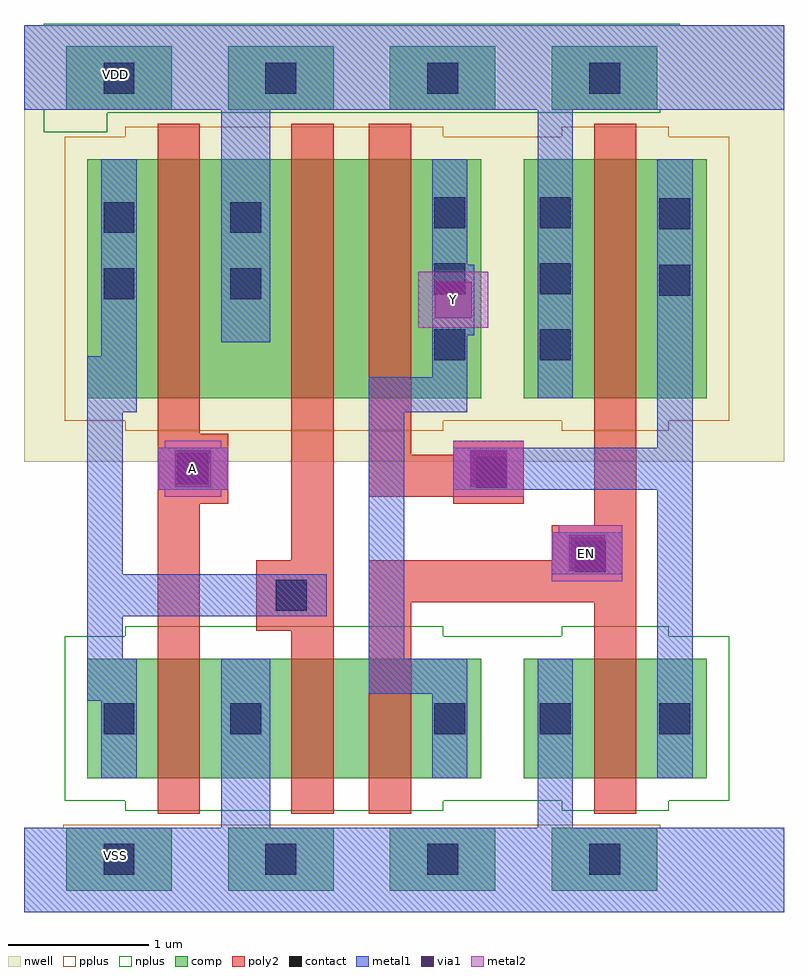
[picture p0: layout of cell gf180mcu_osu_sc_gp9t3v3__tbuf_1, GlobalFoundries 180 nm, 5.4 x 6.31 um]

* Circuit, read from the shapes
.subckt gf180mcu_osu_sc_gp9t3v3__tbuf_1 A EN VDD VSS Y
XM1 VSS A n1 VSS nfet_03v3 w=0.85u l=0.3u
XM2 n2 n1 VSS VSS nfet_03v3 w=0.85u l=0.3u
XM3 Y EN n2 VSS nfet_03v3 w=0.85u l=0.3u
XM4 n3 EN VSS VSS nfet_03v3 w=0.85u l=0.3u
XM5 VDD A n1 VDD pfet_03v3 w=1.7u l=0.3u
XM6 n4 n1 VDD VDD pfet_03v3 w=1.7u l=0.3u
XM7 Y n3 n4 VDD pfet_03v3 w=1.7u l=0.3u
XM8 n3 EN VDD VDD pfet_03v3 w=1.7u l=0.3u
.ends

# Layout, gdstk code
import gdstk
lib = gdstk.Library(unit=1e-6, precision=1e-09)
def R(c, l, rs):  # rectangles x0, y0, x1, y1
    for r in rs: c.add(gdstk.rectangle(r[:2], r[2:], *l))
def A(c, l, x, y, w, h, nx, ny, dx, dy):  # array of equal rectangles
    R(c, l, [(x+i*dx, y+j*dy, x+i*dx+w, y+j*dy+h) for i in range(nx) for j in range(ny)])
nwell = (21, 0)
comp = (22, 0)
poly2 = (30, 0)
pplus = (31, 0)
nplus = (32, 0)
contact = (33, 0)
metal1 = (34, 0)
via1 = (35, 0)
metal2 = (36, 0)

gf180mcu_osu_sc_gp9t3v3_ = lib.new_cell('gf180mcu_osu_sc_gp9t3v3__tbuf_1')
R(gf180mcu_osu_sc_gp9t3v3_, nwell, [(0,3.2,5.4,6.3)])
A(gf180mcu_osu_sc_gp9t3v3_, comp, 0.3, 0.15, 0.75, 0.45, 4, 2, 1.15, 5.55)
R(gf180mcu_osu_sc_gp9t3v3_, comp, [(0.45,0.95,3.25,1.8), (3.55,0.95,4.85,1.8), (0.45,3.65,3.25,5.35), (3.55,3.65,4.85,5.35)])
R(gf180mcu_osu_sc_gp9t3v3_, poly2, [(0.95,0.7,1.25,2.9), (1.9,0.7,2.2,2), (2.45,0.7,2.75,2.2), (4.05,0.7,4.35,2.2), (1.65,2,2.2,2.5), (2.45,2.2,4.35,2.5), (1.9,2.5,2.2,5.6), (3.75,2.5,4.35,2.75), (4.05,2.75,4.35,5.6), (0.95,2.9,1.45,3.4), (3.05,2.9,3.55,2.95), (2.45,2.95,3.55,3.25), (2.45,3.25,2.75,5.6), (3.05,3.25,3.55,3.35), (0.95,3.4,1.25,5.6)])
R(gf180mcu_osu_sc_gp9t3v3_, pplus, [(0,0,5.4,0.6), (0.28,0.13,4.52,0.62), (0.72,3.42,2.98,3.49), (3.82,3.42,4.58,3.49), (0.29,3.49,5.01,5.51), (0.72,5.51,2.98,5.58), (3.82,5.51,4.58,5.58)])
R(gf180mcu_osu_sc_gp9t3v3_, nplus, [(0.72,0.72,2.98,0.79), (3.82,0.72,4.58,0.79), (0.29,0.79,5.01,1.96), (0.72,1.96,2.98,2.03), (3.82,1.96,4.58,2.03), (0.14,5.54,0.59,5.68), (0.14,5.68,4.52,5.7), (0,5.7,5.4,6.3), (0,5.7,5.4,6.3), (0.14,6.3,4.66,6.31)])
A(gf180mcu_osu_sc_gp9t3v3_, contact, 0.565, 0.265, 0.22, 0.22, 4, 2, 1.15, 5.55)
A(gf180mcu_osu_sc_gp9t3v3_, contact, 2.915, 3.92, 0.22, 0.22, 1, 3, 0, 0.47)
A(gf180mcu_osu_sc_gp9t3v3_, contact, 3.665, 3.92, 0.22, 0.22, 1, 3, 0, 0.47)
R(gf180mcu_osu_sc_gp9t3v3_, contact, [(0.565,1.265,0.785,1.485), (1.465,1.265,1.685,1.485), (2.915,1.265,3.135,1.485), (3.665,1.265,3.885,1.485), (4.515,1.265,4.735,1.485), (1.79,2.14,2.01,2.36), (3.915,2.415,4.135,2.635), (3.215,3.015,3.435,3.235), (1.09,3.04,1.31,3.26), (0.565,4.355,0.785,4.575), (1.465,4.355,1.685,4.575), (4.515,4.38,4.735,4.6), (0.565,4.825,0.785,5.045), (1.465,4.825,1.685,5.045), (4.515,4.85,4.735,5.07)])
R(gf180mcu_osu_sc_gp9t3v3_, metal1, [(0,0,5.4,0.6), (1.4,0.6,1.75,1.8), (3.65,0.6,3.9,1.8), (0.55,0.95,0.8,1.5), (2.9,0.95,3.15,1.55), (4.5,0.95,4.75,3), (0.45,1.5,0.8,1.8), (2.45,1.55,3.15,1.8), (0.45,1.8,0.7,2.1), (2.45,1.8,2.7,3.55), (0.45,2.1,2.15,2.4), (0.45,2.4,0.7,3.55), (3.75,2.4,4.25,2.7), (0.95,3,1.45,3.3), (3.05,3,4.75,3.3), (4.5,3.3,4.75,5.35), (0.45,3.55,0.8,3.95), (2.45,3.55,3.15,3.8), (3.65,3.65,3.9,5.7), (2.9,3.8,3.15,4.1), (0.55,3.95,0.8,5.35), (1.4,4.05,1.75,5.7), (2.9,4.1,3.2,4.6), (2.9,4.6,3.15,5.35), (0,5.7,5.4,6.3)])
R(gf180mcu_osu_sc_gp9t3v3_, via1, [(3.87,2.42,4.13,2.68), (1.07,3.02,1.33,3.28), (3.17,3.02,3.43,3.28), (2.92,4.22,3.18,4.48)])
R(gf180mcu_osu_sc_gp9t3v3_, metal2, [(3.75,2.35,4.25,2.7), (3.8,2.7,4.25,2.75), (1,2.95,1.4,3), (3.05,2.95,3.55,3.35), (0.95,3,1.45,3.3), (1,3.3,1.4,3.35), (2.8,4.15,3.3,4.55)])
gf180mcu_osu_sc_gp9t3v3_.add(gdstk.Label('A', (1.2,3.15), layer=36, texttype=10))
gf180mcu_osu_sc_gp9t3v3_.add(gdstk.Label('EN', (4,2.55), layer=36, texttype=10))
gf180mcu_osu_sc_gp9t3v3_.add(gdstk.Label('Y', (3.05,4.35), layer=36, texttype=10))
gf180mcu_osu_sc_gp9t3v3_.add(gdstk.Label('VDD', (0.65,5.95), layer=22, texttype=0))
gf180mcu_osu_sc_gp9t3v3_.add(gdstk.Label('VSS', (0.65,0.4), layer=22, texttype=0))

lib.write_gds('gf180mcu_osu_sc_gp9t3v3__tbuf_1.gds')
